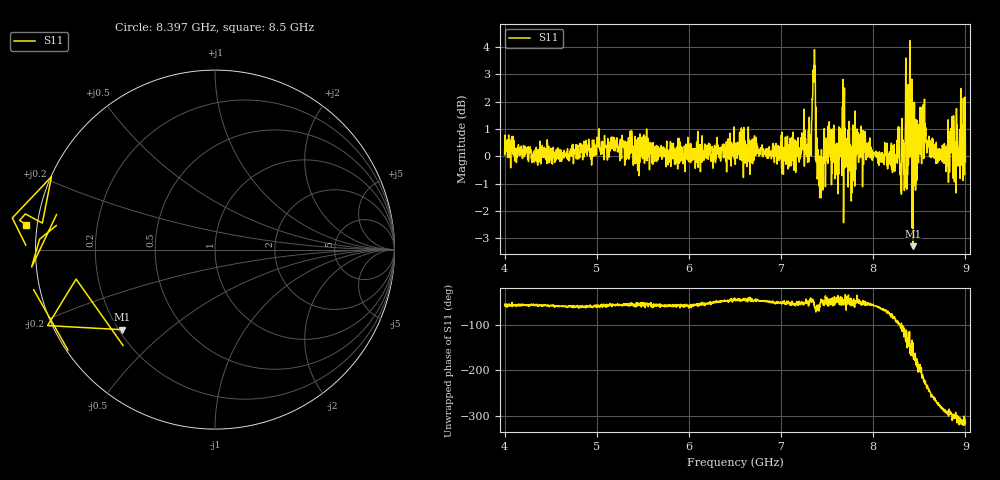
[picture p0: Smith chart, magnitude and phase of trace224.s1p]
! Created with skrf 1.8.0 (http://scikit-rf.org).
# Hz S RI R 50.0
!freq ReS11 ImS11
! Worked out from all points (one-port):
!   1601 points, 4 GHz to 9 GHz, reference 50 ohm
!   lowest |S11| = -3.3 dB at 8.431 GHz (marker M1), VSWR 5.34, Z = 10.6 - j17.8 ohm
!   |S11| at or under -10 dB: nowhere
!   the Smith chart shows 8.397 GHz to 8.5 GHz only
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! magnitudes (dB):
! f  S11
! 4 GHz  0.1
! 4.625 GHz  -0.1
! 5.25 GHz  -0.2
! 5.875 GHz  -0.1
! 6.5 GHz  0.4
! 7.125 GHz  0.1
! 7.303 GHz  -0.2
! 7.356 GHz  3.3
! 7.4 GHz  0.2
! 7.416 GHz  0.0
! 7.512 GHz  1.1
! 7.606 GHz  0.5
! 7.662 GHz  0.4
! 7.75 GHz  0.4
! 7.844 GHz  0.7
! 8.097 GHz  0.1
! 8.262 GHz  -0.3
! 8.319 GHz  0.6
! 8.375 GHz  1.2
! 8.394 GHz  2.1
! 8.406 GHz  1.6
! 8.431 GHz  -3.3
! 8.447 GHz  2.0
! 8.459 GHz  -1.2
! 8.544 GHz  0.6
! 8.806 GHz  0.4
! 8.972 GHz  1.2
! 9 GHz  -0.2
